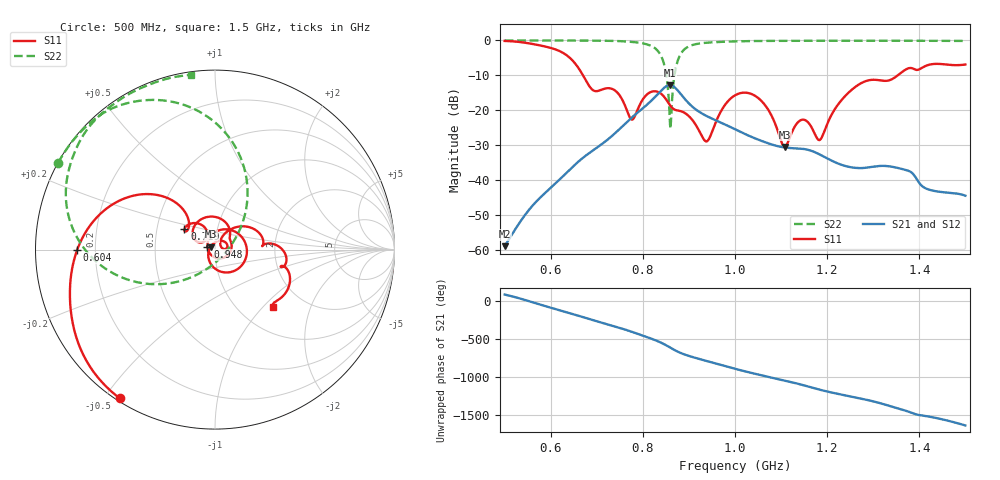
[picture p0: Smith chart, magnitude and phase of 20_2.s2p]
! TOUCHSTONE file generated by CST MICROWAVE STUDIO
! Date and time: Fri Oct  2 16:30:05 2020
! Project name: Scenario_1_Free_Space_out_of_line.cst
! Parameters = {Lambda=346.42; Step_1=17.321; dy1=18.161; dx1=346; L_HA=400; MT=2.54; Rad_Dielectric=30; Rad_Lower=7.3; Rad_Upper=30; a_HA=580; a_WG=246; b_HA=500; b_WG=121; c_HA=0; c_WG=187; d_feed=85; h_feed=15; h_lower=18; h_upper=40}
! Header version: 2018
! Port assignment regex: !\s*Touchstone port\s*([0-9]+)\s*=\s*(CST MWS port|CST DS port)\s*([0-9]+|Zmin|Zmax)\s*\(\"(.*)\"\)(\s*mode\s*([0-9]+))?.*
! Touchstone port assignment:
! Touchstone port 1 = CST MWS port 1 ("")
! Touchstone port 2 = CST MWS port 2 ("")
# GHz S DB R 50
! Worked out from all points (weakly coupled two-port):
!   1003 points, 500 MHz to 1.5 GHz, reference 50 ohm
!   highest |S21| = -12.81 dB at 859 MHz (marker M1); lowest = -59.0 dB at 500 MHz (marker M2)
!   lowest |S11| = -30.6 dB at 1.108 GHz (marker M3), VSWR 1.06, Z = 47.6 + j1.55 ohm
!   |S11| at or under -10 dB: 670.1 MHz to 1.353 GHz (683.1 MHz wide, 67.5 % of centre)
!   |S22| runs from -25.3 to 0.0 dB; largest |S21 - S12| = 3.7e-05
!   S11 on the Smith chart (normalised r, x): 500 MHz: 0.01, -0.55; 604 MHz: 0.13, -0.00; 719 MHz: 0.69, +0.16; 948 MHz: 0.92, +0.03; 1.5 GHz: 1.41, -1.13
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0.5  -0.14 -122.7  -58.95 80.7  -58.95 80.7  -0.01 151.1
0.604  -2.30 -179.9  -41.75 -97.8  -41.75 -97.8  -0.02 143.7
0.64  -4.80 150.0  -37.18 -159.4  -37.18 -159.4  -0.03 140.8
0.667  -9.31 129.9  -33.96 151.1  -33.96 151.1  -0.04 138.3
0.719  -13.76 146.2  -28.91 58.4  -28.91 58.4  -0.10 132.2
0.776  -22.68 134.9  -22.09 -46.9  -22.09 -46.9  -0.42 121.3
0.834  -14.82 88.6  -15.17 -174.3  -15.17 -174.3  -3.24 88.1
0.848  -16.44 60.5  -13.39 145.1  -13.39 145.1  -7.85 63.7
0.859  -18.58 44.6  -12.81 107.7  -12.81 107.7  -24.07 -11.6
0.871  -19.93 34.5  -13.66 67.1  -13.66 67.1  -8.23 -150.1
0.884  -20.34 16.2  -15.65 31.0  -15.65 31.0  -3.51 -174.5
0.935  -28.77 -129.2  -21.43 -63.6  -21.43 -63.6  -0.69 152.4
0.948  -26.94 159.4  -22.27 -85.2  -22.27 -85.2  -0.56 149.1
1  -15.73 26.8  -25.45 -171.2  -25.45 -171.2  -0.28 140.2
1.057  -17.29 -68.3  -28.76 104.0  -28.76 104.0  -0.15 133.7
1.108  -30.56 146.8  -30.68 34.3  -30.68 34.3  -0.11 128.9
1.141  -22.97 34.3  -30.98 -14.1  -30.98 -14.1  -0.11 126.2
1.167  -25.11 3.0  -31.69 -57.4  -31.69 -57.4  -0.10 124.1
1.184  -28.52 31.1  -32.69 -85.0  -32.69 -85.0  -0.10 122.8
1.253  -14.17 41.5  -36.38 -175.5  -36.38 -175.5  -0.08 117.5
1.334  -11.45 5.2  -36.07 65.2  -36.06 65.2  -0.09 111.4
1.5  -6.90 -44.8  -44.49 166.9  -44.51 167.3  -0.15 97.8
